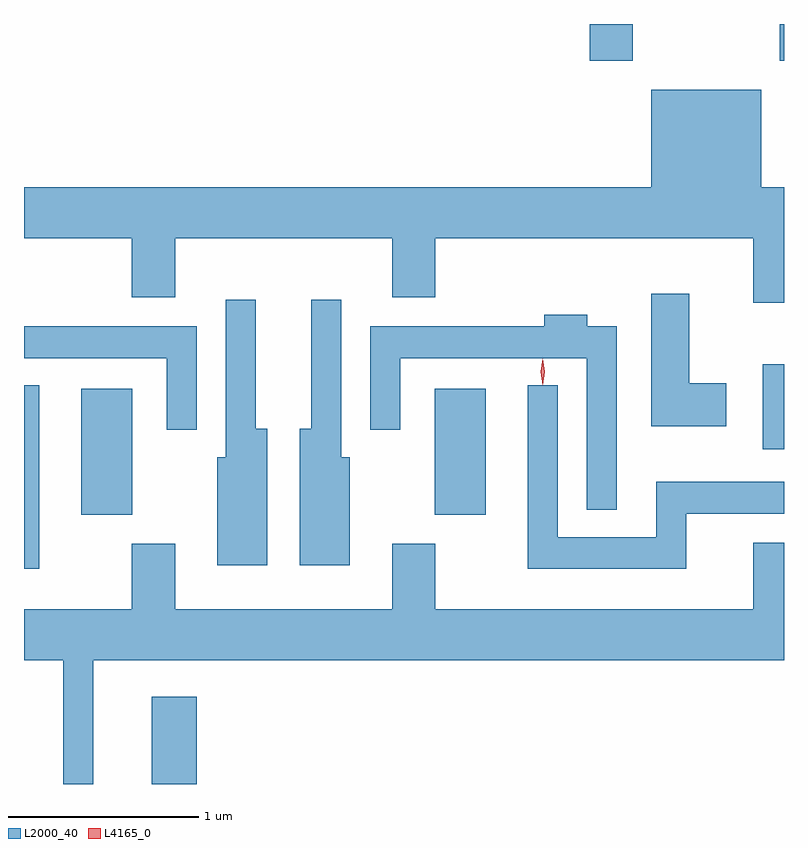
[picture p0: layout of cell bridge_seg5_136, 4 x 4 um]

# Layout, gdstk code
import gdstk
lib = gdstk.Library(unit=1e-6, precision=1e-09)
def R(c, l, rs):  # rectangles x0, y0, x1, y1
    for r in rs: c.add(gdstk.rectangle(r[:2], r[2:], *l))
def P(c, l, *ps):  # polygons
    for p in ps: c.add(gdstk.Polygon(p, *l))
L2000_40 = (2000, 40)
L4165_0 = (4165, 0)

bridge_seg5_136 = lib.new_cell('bridge_seg5_136')
R(bridge_seg5_136, L2000_40, [(1209.446,1416.184,1209.684,1416.644), (1208.774,1417.316,1208.854,1418.283), (1209.076,1417.601,1209.344,1418.264), (1210.936,1417.601,1211.204,1418.264), (1212.661,1417.946,1212.774,1418.394), (1211.751,1419.991,1211.979,1420.184), (1212.751,1419.991,1212.774,1420.184)])
P(bridge_seg5_136, L2000_40, [(1212.774,1419.324),(1212.654,1419.324),(1212.654,1419.839),(1212.076,1419.839),(1212.076,1419.324),(1208.774,1419.324),(1208.774,1419.056),(1209.341,1419.056),(1209.341,1418.746),(1209.569,1418.746),(1209.569,1419.056),(1210.711,1419.056),(1210.711,1418.746),(1210.939,1418.746),(1210.939,1419.056),(1212.611,1419.056),(1212.611,1418.716),(1212.774,1418.716)],
  [(1212.469,1418.294),(1212.274,1418.294),(1212.274,1418.764),(1212.076,1418.764),(1212.076,1418.066),(1212.469,1418.066)],
  [(1210.489,1417.904),(1210.444,1417.904),(1210.444,1418.733),(1210.286,1418.733),(1210.286,1418.054),(1210.226,1418.054),(1210.226,1417.336),(1210.489,1417.336)],
  [(1210.054,1418.054),(1209.994,1418.054),(1209.994,1418.733),(1209.836,1418.733),(1209.836,1417.904),(1209.791,1417.904),(1209.791,1417.336),(1210.054,1417.336)],
  [(1211.894,1418.594),(1211.739,1418.594),(1211.739,1418.654),(1211.511,1418.654),(1211.511,1418.594),(1210.596,1418.594),(1210.596,1418.048),(1210.754,1418.048),(1210.754,1418.426),(1211.736,1418.426),(1211.736,1417.628),(1211.894,1417.628)],
  [(1209.684,1418.594),(1208.774,1418.594),(1208.774,1418.426),(1209.526,1418.426),(1209.526,1418.048),(1209.684,1418.048)],
  [(1212.259,1417.606),(1212.774,1417.606),(1212.774,1417.774),(1212.101,1417.774),(1212.101,1417.484),(1211.584,1417.484),(1211.584,1418.283),(1211.426,1418.283),(1211.426,1417.316),(1212.259,1417.316)],
  [(1209.139,1416.836),(1212.774,1416.836),(1212.774,1417.454),(1212.611,1417.454),(1212.611,1417.104),(1210.939,1417.104),(1210.939,1417.449),(1210.711,1417.449),(1210.711,1417.104),(1209.569,1417.104),(1209.569,1417.449),(1209.341,1417.449),(1209.341,1417.104),(1208.774,1417.104),(1208.774,1416.836),(1208.981,1416.836),(1208.981,1416.184),(1209.139,1416.184)])
P(bridge_seg5_136, L4165_0, [(1211.504,1418.287),(1211.503,1418.288),(1211.494,1418.354),(1211.503,1418.42),(1211.504,1418.42),(1211.504,1418.42),(1211.514,1418.354),(1211.504,1418.288)],
  [(1211.503,1418.284),(1211.494,1418.353),(1211.503,1418.422),(1211.504,1418.423),(1211.504,1418.422),(1211.514,1418.353),(1211.504,1418.284),(1211.504,1418.284)])

lib.write_gds('bridge_seg5_136.gds')
